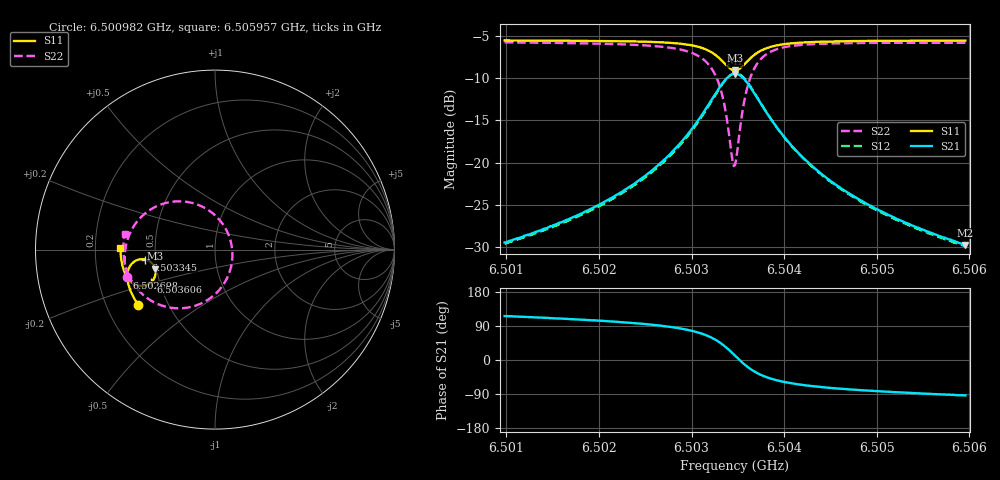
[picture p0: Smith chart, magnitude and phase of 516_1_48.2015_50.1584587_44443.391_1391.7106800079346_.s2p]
#  HZ  S  RI  R  50.00
! Rohde & Schwarz Vector Network Analyzer
! Rohde-Schwarz,ZNB20-2Port,1311601062101988,3.16
! Created: UTC 3/20/2024, 11:59:10 AM
! freq[Hz]  re:S11  im:S11  re:S21  im:S21  re:S12  im:S12  re:S22  im:S22
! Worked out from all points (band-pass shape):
!   401 points, 6.500982 GHz to 6.505957 GHz, reference 50 ohm
!   highest |S21| = -9.49 dB at 6.503469 GHz (marker M1); lowest = -29.7 dB at 6.505957 GHz (marker M2)
!   |S21| within 3 dB of the highest: 6.503221 GHz to 6.503718 GHz (497 kHz wide, 0.00764 % of centre)
!   lowest |S11| = -9.1 dB at 6.503469 GHz (marker M3), VSWR 2.08, Z = 24.5 - j5.88 ohm
!   |S11| at or under -10 dB: nowhere
!   |S22| runs from -20.4 to -5.8 dB; largest |S21 - S12| = 0.011
!   S11 on the Smith chart (normalised r, x): 6.500982 GHz: 0.34, -0.29; 6.502698 GHz: 0.33, -0.14; 6.503345 GHz: 0.44, -0.06; 6.503606 GHz: 0.45, -0.19; 6.505957 GHz: 0.31, +0.01
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6.5009815e9  -0.4275 -0.3084  -0.0149 0.0304  -0.0132 0.0305  -0.4902 -0.1527
6.5018149e9  -0.4633 -0.2466  -0.0142 0.0482  -0.0118 0.0479  -0.5031 -0.0637
6.5023e9  -0.4802 -0.203  -0.0108 0.0695  -0.0079 0.0682  -0.499 0.00643
6.5026483e9  -0.4881 -0.1639  -0.00208 0.0978  0.00151 0.0955  -0.4799 0.0775
6.5026981e9  -0.4885 -0.1573  0.000425 0.1033  0.00401 0.1009  -0.4745 0.0903
6.5029344e9  -0.4855 -0.1204  0.0226 0.1398  0.0264 0.1358  -0.4278 0.1642
6.5030961e9  -0.4712 -0.0883  0.0615 0.1756  0.0643 0.1701  -0.3525 0.2275
6.5032454e9  -0.4341 -0.0585  0.1423 0.2045  0.1428 0.1986  -0.2057 0.2689
6.5033449e9  -0.388 -0.0552  0.2328 0.1886  0.2328 0.1843  -0.0491 0.2277
6.503432e9  -0.3454 -0.0836  0.3107 0.1151  0.3131 0.1116  0.0754 0.0833
6.5034569e9  -0.3373 -0.0977  0.3241 0.0838  0.3274 0.0793  0.0925 0.024
6.5034693e9  -0.3345 -0.1054  0.3284 0.067  0.3321 0.0622  0.0966 -0.00713
6.5034942e9  -0.3313 -0.1215  0.3321 0.0326  0.3361 0.0265  0.0943 -0.0699
6.5035315e9  -0.3335 -0.1452  0.325 -0.0172  0.3287 -0.0255  0.0678 -0.1579
6.5036061e9  -0.3554 -0.1822  0.2789 -0.093  0.2794 -0.104  -0.0406 -0.2803
6.5037181e9  -0.4007 -0.202  0.1928 -0.1383  0.188 -0.1478  -0.2149 -0.327
6.5038798e9  -0.4476 -0.1926  0.1097 -0.1347  0.1031 -0.1398  -0.3647 -0.279
6.5040539e9  -0.4755 -0.1711  0.0646 -0.1141  0.0586 -0.1164  -0.4378 -0.213
6.5043027e9  -0.4964 -0.1412  0.0342 -0.0891  0.0297 -0.0898  -0.4815 -0.1402
6.5046759e9  -0.512 -0.1019  0.0151 -0.0655  0.0119 -0.0653  -0.504 -0.0647
6.5051361e9  -0.5215 -0.0591  0.00504 -0.0487  0.00298 -0.048  -0.5105 0.00102
6.5059571e9  -0.5265 0.0106  -0.00198 -0.0326  -0.00322 -0.032  -0.5027 0.0885
